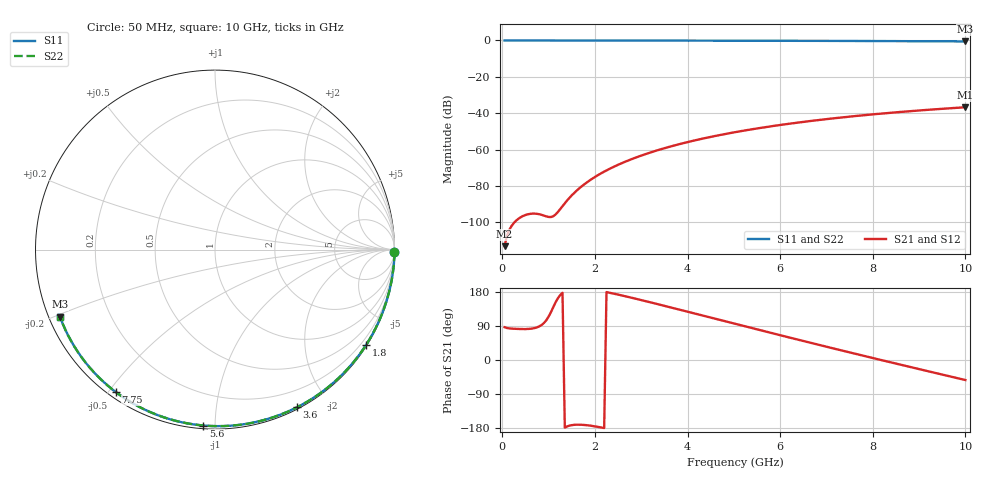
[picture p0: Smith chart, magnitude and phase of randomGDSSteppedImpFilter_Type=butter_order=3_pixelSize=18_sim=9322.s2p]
! freq	dB(S11)	phase(S11)	dB(S12)	phase(S12)
!  dB(S21)	phase(S21)	dB(S22)	phase(S22)
!S-par simulation data
#  GHz  S  DB  R 50
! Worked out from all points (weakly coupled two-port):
!   200 points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, 50 MHz to 10 GHz, reference 50 ohm
!   highest |S21| = -36.73 dB at 10 GHz (marker M1); lowest = -113.1 dB at 50 MHz (marker M2)
!   lowest |S11| = -0.5 dB at 10 GHz (marker M3), VSWR 33.00, Z = 1.58 - j10.3 ohm
!   |S11| at or under -10 dB: nowhere
!   |S22| runs from -0.5 to 0.0 dB; largest |S21 - S12| = 0
!   S11 on the Smith chart (normalised r, x): 50 MHz: open; 1.8 GHz: 0.03, -3.47; 3.6 GHz: 0.02, -1.65; 5.6 GHz: 0.02, -0.94; 7.75 GHz: 0.02, -0.52; 10 GHz: 0.03, -0.21
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0.05  -0.00 -0.9  -113.08 86.6  -113.08 86.6  -0.00 -0.9
0.45  -0.01 -8.2  -96.47 81.6  -96.47 81.6  -0.01 -8.2
0.9  -0.02 -16.2  -96.27 97.7  -96.27 97.7  -0.02 -16.2
1.7  -0.04 -30.4  -80.48 -170.8  -80.48 -170.8  -0.04 -30.4
1.75  -0.04 -31.3  -79.47 -171.2  -79.47 -171.2  -0.04 -31.3
1.8  -0.04 -32.1  -78.51 -171.8  -78.51 -171.8  -0.04 -32.1
1.95  -0.04 -34.7  -75.86 -174.1  -75.86 -174.1  -0.04 -34.7
2.1  -0.05 -37.3  -73.53 -177.2  -73.53 -177.2  -0.05 -37.3
2.3  -0.05 -40.8  -70.77 177.9  -70.77 177.9  -0.05 -40.8
2.5  -0.06 -44.2  -68.35 172.6  -68.35 172.6  -0.06 -44.2
2.9  -0.07 -51.0  -64.21 161.1  -64.21 161.1  -0.07 -51.0
3.4  -0.08 -59.3  -59.98 146.1  -59.98 146.1  -0.08 -59.3
3.6  -0.08 -62.6  -58.52 139.9  -58.52 139.9  -0.08 -62.6
4.3  -0.10 -73.8  -54.10 118.1  -54.10 118.1  -0.10 -73.8
5.05  -0.13 -85.5  -50.31 94.8  -50.31 94.8  -0.13 -85.5
5.6  -0.16 -93.8  -47.98 77.7  -47.98 77.7  -0.16 -93.8
6.15  -0.18 -101.9  -45.94 60.8  -45.94 60.8  -0.18 -101.9
6.7  -0.21 -109.9  -44.13 44.1  -44.13 44.1  -0.21 -109.9
7.75  -0.29 -124.9  -41.23 12.6  -41.23 12.6  -0.29 -124.9
8.35  -0.34 -133.3  -39.83 -5.1  -39.83 -5.1  -0.34 -133.3
9.2  -0.43 -145.3  -38.11 -29.8  -38.11 -29.8  -0.43 -145.3
10  -0.53 -156.6  -36.73 -52.9  -36.73 -52.9  -0.53 -156.6
